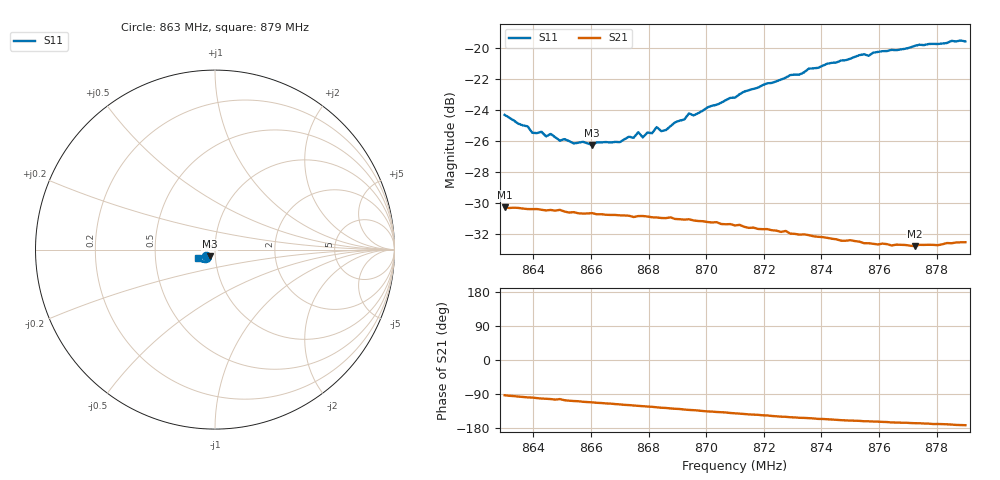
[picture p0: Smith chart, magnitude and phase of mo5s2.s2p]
# HZ S RI R 50
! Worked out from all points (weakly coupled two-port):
!   101 points, 863 MHz to 879 MHz, reference 50 ohm
!   highest |S21| = -30.27 dB at 863 MHz (marker M1); lowest = -32.8 dB at 877.24 MHz (marker M2)
!   lowest |S11| = -26.2 dB at 866.04 MHz (marker M3), VSWR 1.10, Z = 46.9 - j3.56 ohm
!   |S11| at or under -10 dB: start of sweep to end of sweep
!   S12 and S22 are empty: the file has one direction only
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8.63e8  -0.0496 -0.0355  -0.00159 -0.0306  0 0  0 0
8.638e8  -0.0447 -0.0337  -0.00459 -0.0299  0 0  0 0
8.6396e8  -0.0415 -0.0336  -0.0048 -0.0299  0 0  0 0
8.646e8  -0.039 -0.0357  -0.00681 -0.0293  0 0  0 0
8.6492e8  -0.036 -0.0352  -0.00684 -0.0293  0 0  0 0
8.654e8  -0.0339 -0.0358  -0.00928 -0.0281  0 0  0 0
8.6572e8  -0.0329 -0.0375  -0.0101 -0.0275  0 0  0 0
8.6604e8  -0.0306 -0.0379  -0.0108 -0.0273  0 0  0 0
8.67e8  -0.028 -0.0412  -0.0132 -0.0257  0 0  0 0
8.6748e8  -0.0269 -0.0438  -0.0143 -0.0247  0 0  0 0
8.6764e8  -0.0281 -0.0456  -0.0148 -0.0246  0 0  0 0
8.678e8  -0.0261 -0.0445  -0.0152 -0.0244  0 0  0 0
8.6828e8  -0.0264 -0.049  -0.0163 -0.0233  0 0  0 0
8.6844e8  -0.026 -0.0474  -0.0166 -0.0229  0 0  0 0
8.6924e8  -0.0269 -0.0524  -0.0182 -0.0212  0 0  0 0
8.694e8  -0.0271 -0.0553  -0.0187 -0.0209  0 0  0 0
8.6956e8  -0.0269 -0.0545  -0.0187 -0.0206  0 0  0 0
8.71e8  -0.0319 -0.0615  -0.0207 -0.017  0 0  0 0
8.7372e8  -0.051 -0.0694  -0.0223 -0.0108  0 0  0 0
8.7644e8  -0.0761 -0.063  -0.0223 -0.00603  0 0  0 0
8.7724e8  -0.0832 -0.0586  -0.0224 -0.00527  0 0  0 0
8.79e8  -0.0954 -0.0444  -0.0234 -0.00329  0 0  0 0
